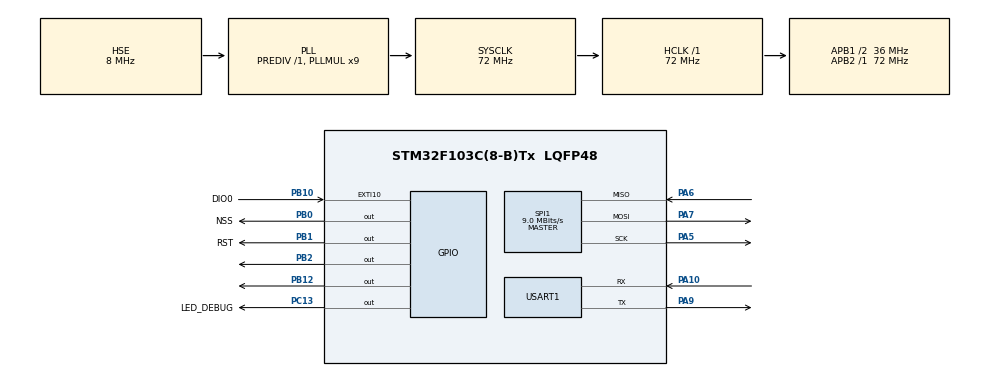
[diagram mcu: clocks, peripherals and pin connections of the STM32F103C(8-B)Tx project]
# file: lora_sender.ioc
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Mcu.Family=STM32F1
Mcu.Name=STM32F103C(8-B)Tx
Mcu.Package=LQFP48
NVIC.PriorityGroup=NVIC_PRIORITYGROUP_4
NVIC.SPI1_IRQn=true\:0\:0\:false\:false\:true\:true\:true\:true
PA10.Mode=Asynchronous
PA10.Signal=USART1_RX
PA13.Mode=Serial_Wire
PA13.Signal=SYS_JTMS-SWDIO
PA14.Mode=Serial_Wire
PA14.Signal=SYS_JTCK-SWCLK
PA5.Mode=Full_Duplex_Master
PA5.Signal=SPI1_SCK
PA6.Mode=Full_Duplex_Master
PA6.Signal=SPI1_MISO
PA7.Mode=Full_Duplex_Master
PA7.Signal=SPI1_MOSI
PA9.Mode=Asynchronous
PA9.Signal=USART1_TX
PB0.GPIO_Label=NSS
PB0.PinState=GPIO_PIN_SET
PB0.Signal=GPIO_Output
PB1.GPIO_Label=RST
PB1.PinState=GPIO_PIN_SET
PB1.Signal=GPIO_Output
PB10.GPIO_Label=DIO0
PB10.Signal=GPXTI10
PB12.Signal=GPIO_Output
PB2.PinState=GPIO_PIN_SET
PB2.Signal=GPIO_Output
PC13-TAMPER-RTC.GPIO_Label=LED_DEBUG
PC13-TAMPER-RTC.Signal=GPIO_Output
PD0-OSC_IN.Mode=HSE-External-Oscillator
PD0-OSC_IN.Signal=RCC_OSC_IN
PD1-OSC_OUT.Mode=HSE-External-Oscillator
PD1-OSC_OUT.Signal=RCC_OSC_OUT
ProjectManager.HeapSize=0x200
ProjectManager.StackSize=0x400
ProjectManager.TargetToolchain=STM32CubeIDE
RCC.AHBFreq_Value=72000000
RCC.APB1CLKDivider=RCC_HCLK_DIV2
RCC.APB1Freq_Value=36000000
RCC.APB1TimFreq_Value=72000000
RCC.APB2Freq_Value=72000000
RCC.APB2TimFreq_Value=72000000
RCC.HCLKFreq_Value=72000000
RCC.PLLMUL=RCC_PLL_MUL9
RCC.PLLSourceVirtual=RCC_PLLSOURCE_HSE
RCC.SYSCLKFreq_VALUE=72000000
RCC.SYSCLKSource=RCC_SYSCLKSOURCE_PLLCLK
RCC.USBFreq_Value=72000000
SPI1.BaudRatePrescaler=SPI_BAUDRATEPRESCALER_8
SPI1.CalculateBaudRate=9.0 MBits/s
SPI1.Direction=SPI_DIRECTION_2LINES
SPI1.Mode=SPI_MODE_MASTER
SPI1.VirtualType=VM_MASTER
USART1.VirtualMode=VM_ASYNC
board=custom

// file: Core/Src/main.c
/* USER CODE BEGIN Header */
/**
  ******************************************************************************
  * @file           : main.c
  * @brief          : Main program body
  ******************************************************************************
  * @attention
  *
  * Copyright (c) 2025 STMicroelectronics.
  * All rights reserved.
  *
  * This software is licensed under terms that can be found in the LICENSE file
  * in the root directory of this software component.
  * If no LICENSE file comes with this software, it is provided AS-IS.
  *
  ******************************************************************************
  */
/* USER CODE END Header */
#include "main.h"

/* USER CODE BEGIN Includes */
#include "LoRa.h"
#include "string.h"
/* USER CODE END Includes */

SPI_HandleTypeDef hspi1;

UART_HandleTypeDef huart1;

/* USER CODE BEGIN PV */
LoRa myLoRa;
uint8_t read_data[128];
uint8_t send_data[16];
int	RSSI;

/* USER CODE END PV */

void SystemClock_Config(void);
static void MX_GPIO_Init(void);
static void MX_SPI1_Init(void);
static void MX_USART1_UART_Init(void);

int main(void)
{

  /* MCU Configuration--------------------------------------------------------*/

  /* Reset of all peripherals, Initializes the Flash interface and the Systick. */
  HAL_Init();

  /* Configure the system clock */
  SystemClock_Config();

  /* Initialize all configured peripherals */
  MX_GPIO_Init();
  MX_SPI1_Init();
  MX_USART1_UART_Init();
  /* USER CODE BEGIN 2 */
  myLoRa = newLoRa();

  myLoRa.CS_port         = NSS_GPIO_Port;
  myLoRa.CS_pin          = NSS_Pin;
  myLoRa.reset_port      = RST_GPIO_Port;
  myLoRa.reset_pin       = RST_Pin;
  myLoRa.DIO0_port       = DIO0_GPIO_Port;
  myLoRa.DIO0_pin        = DIO0_Pin;
  myLoRa.hSPIx           = &hspi1;

  myLoRa.frequency             = 433;             // default = 433 MHz
  myLoRa.spredingFactor        = SF_7;            // default = SF_7
  myLoRa.bandWidth             = BW_125KHz;       // default = BW_125KHz
  myLoRa.crcRate               = CR_4_5;          // default = CR_4_5
  myLoRa.power                 = POWER_20db;      // default = 20db
  myLoRa.overCurrentProtection = 120;             // default = 100 mA
  myLoRa.preamble              = 9;              // default = 8;

  LoRa_reset(&myLoRa);
  LoRa_init(&myLoRa);

  // START CONTINUOUS RECEIVING -----------------------------------
  LoRa_startReceiving(&myLoRa);
  char   send_data[200];
  uint16_t LoRa_status = LoRa_init(&myLoRa);
  memset(send_data,NULL,200);
  //---------------------------------------------------------------

  //LoRa_startReceiving(&myLoRa);
  uint8_t TxBuffer[128];
  uint8_t temp;
  TxBuffer[0]=45;
  TxBuffer[1]=52;
  TxBuffer[2]='A';

  //LoRa_transmit(&myLoRa,TxBuffer,3,500);
  LoRa_setSyncWord(&myLoRa,0x3B);
  HAL_GPIO_TogglePin(GPIOB,GPIO_PIN_2);
  HAL_Delay(500);
  HAL_GPIO_TogglePin(GPIOB,GPIO_PIN_2);
  HAL_Delay(500);
//  char*  send_data_2;
//  	  send_data_2 = "Hello world!";
  //uint16_t LoRa_status = LoRa_init(&myLoRa);
  /* USER CODE END 2 */

  /* Infinite loop */
  while (1)
  {

    /* USER CODE BEGIN 3 */
	  // SENDING DATA - - - - - - - - - - - - - - - - - - - - - - - - -
	  uint16_t LoRa_status = LoRa_init(&myLoRa);
	  send_data[0] = 0x3B; // MY ADDRESS
	  LoRa_setSyncWord(&myLoRa,0x3B);
	  temp = 35;

	  if (LoRa_status==LORA_OK){
	    snprintf(send_data,sizeof(send_data),"LoRa is running\n");
	    LoRa_transmit(&myLoRa, (uint8_t*)send_data, 20, 500);
	    HAL_UART_Transmit(&huart1, (uint8_t*)send_data, 20, 500);
//	    HAL_Delay(1500);
//	    LoRa_transmit(&myLoRa, (uint8_t*)temp, 20, 500);
	  }
	  else{
	    snprintf(send_data,sizeof(send_data),"\n\r LoRa failed :( \n\r Error code: %d \n\r", LoRa_status);
	    HAL_UART_Transmit(&huart1, (uint8_t*)send_data, 200, 200);
	  }

  }
  /* USER CODE END 3 */
}

void SystemClock_Config(void)
{
  RCC_OscInitTypeDef RCC_OscInitStruct = {0};
  RCC_ClkInitTypeDef RCC_ClkInitStruct = {0};

  /** Initializes the RCC Oscillators according to the specified parameters
  * in the RCC_OscInitTypeDef structure.
  */
  RCC_OscInitStruct.OscillatorType = RCC_OSCILLATORTYPE_HSE;
  RCC_OscInitStruct.HSEState = RCC_HSE_ON;
  RCC_OscInitStruct.HSEPredivValue = RCC_HSE_PREDIV_DIV1;
  RCC_OscInitStruct.HSIState = RCC_HSI_ON;
  RCC_OscInitStruct.PLL.PLLState = RCC_PLL_ON;
  RCC_OscInitStruct.PLL.PLLSource = RCC_PLLSOURCE_HSE;
  RCC_OscInitStruct.PLL.PLLMUL = RCC_PLL_MUL9;
  if (HAL_RCC_OscConfig(&RCC_OscInitStruct) != HAL_OK)
  {
    Error_Handler();
  }

  /** Initializes the CPU, AHB and APB buses clocks
  */
  RCC_ClkInitStruct.ClockType = RCC_CLOCKTYPE_HCLK|RCC_CLOCKTYPE_SYSCLK
                              |RCC_CLOCKTYPE_PCLK1|RCC_CLOCKTYPE_PCLK2;
  RCC_ClkInitStruct.SYSCLKSource = RCC_SYSCLKSOURCE_PLLCLK;
  RCC_ClkInitStruct.AHBCLKDivider = RCC_SYSCLK_DIV1;
  RCC_ClkInitStruct.APB1CLKDivider = RCC_HCLK_DIV2;
  RCC_ClkInitStruct.APB2CLKDivider = RCC_HCLK_DIV1;

  if (HAL_RCC_ClockConfig(&RCC_ClkInitStruct, FLASH_LATENCY_2) != HAL_OK)
  {
    Error_Handler();
  }
}

static void MX_SPI1_Init(void)
{

  /* SPI1 parameter configuration*/
  hspi1.Instance = SPI1;
  hspi1.Init.Mode = SPI_MODE_MASTER;
  hspi1.Init.Direction = SPI_DIRECTION_2LINES;
  hspi1.Init.DataSize = SPI_DATASIZE_8BIT;
  hspi1.Init.CLKPolarity = SPI_POLARITY_LOW;
  hspi1.Init.CLKPhase = SPI_PHASE_1EDGE;
  hspi1.Init.NSS = SPI_NSS_SOFT;
  hspi1.Init.BaudRatePrescaler = SPI_BAUDRATEPRESCALER_8;
  hspi1.Init.FirstBit = SPI_FIRSTBIT_MSB;
  hspi1.Init.TIMode = SPI_TIMODE_DISABLE;
  hspi1.Init.CRCCalculation = SPI_CRCCALCULATION_DISABLE;
  hspi1.Init.CRCPolynomial = 10;
  if (HAL_SPI_Init(&hspi1) != HAL_OK)
  {
    Error_Handler();
  }

}

static void MX_USART1_UART_Init(void)
{

  huart1.Instance = USART1;
  huart1.Init.BaudRate = 115200;
  huart1.Init.WordLength = UART_WORDLENGTH_8B;
  huart1.Init.StopBits = UART_STOPBITS_1;
  huart1.Init.Parity = UART_PARITY_NONE;
  huart1.Init.Mode = UART_MODE_TX_RX;
  huart1.Init.HwFlowCtl = UART_HWCONTROL_NONE;
  huart1.Init.OverSampling = UART_OVERSAMPLING_16;
  if (HAL_UART_Init(&huart1) != HAL_OK)
  {
    Error_Handler();
  }

}

static void MX_GPIO_Init(void)
{
  GPIO_InitTypeDef GPIO_InitStruct = {0};

  /* GPIO Ports Clock Enable */
  __HAL_RCC_GPIOC_CLK_ENABLE();
  __HAL_RCC_GPIOD_CLK_ENABLE();
  __HAL_RCC_GPIOA_CLK_ENABLE();
  __HAL_RCC_GPIOB_CLK_ENABLE();

  /*Configure GPIO pin Output Level */
  HAL_GPIO_WritePin(LED_DEBUG_GPIO_Port, LED_DEBUG_Pin, GPIO_PIN_RESET);

  /*Configure GPIO pin Output Level */
  HAL_GPIO_WritePin(GPIOB, NSS_Pin|RST_Pin|GPIO_PIN_2, GPIO_PIN_SET);

  /*Configure GPIO pin Output Level */
  HAL_GPIO_WritePin(GPIOB, GPIO_PIN_12, GPIO_PIN_RESET);

  /*Configure GPIO pin : LED_DEBUG_Pin */
  GPIO_InitStruct.Pin = LED_DEBUG_Pin;
  GPIO_InitStruct.Mode = GPIO_MODE_OUTPUT_PP;
  GPIO_InitStruct.Pull = GPIO_NOPULL;
  GPIO_InitStruct.Speed = GPIO_SPEED_FREQ_LOW;
  HAL_GPIO_Init(LED_DEBUG_GPIO_Port, &GPIO_InitStruct);

  /*Configure GPIO pins : NSS_Pin RST_Pin PB2 PB12 */
  GPIO_InitStruct.Pin = NSS_Pin|RST_Pin|GPIO_PIN_2|GPIO_PIN_12;
  GPIO_InitStruct.Mode = GPIO_MODE_OUTPUT_PP;
  GPIO_InitStruct.Pull = GPIO_NOPULL;
  GPIO_InitStruct.Speed = GPIO_SPEED_FREQ_LOW;
  HAL_GPIO_Init(GPIOB, &GPIO_InitStruct);

  /*Configure GPIO pin : DIO0_Pin */
  GPIO_InitStruct.Pin = DIO0_Pin;
  GPIO_InitStruct.Mode = GPIO_MODE_IT_RISING;
  GPIO_InitStruct.Pull = GPIO_NOPULL;
  HAL_GPIO_Init(DIO0_GPIO_Port, &GPIO_InitStruct);

}

/* USER CODE BEGIN 4 */
void HAL_GPIO_EXTI_Callback(uint16_t GPIO_Pin){
	if(GPIO_Pin == myLoRa.DIO0_pin){

	}
}
/* USER CODE END 4 */

void Error_Handler(void)
{
  __disable_irq();
  while (1)
  {
  }
}
